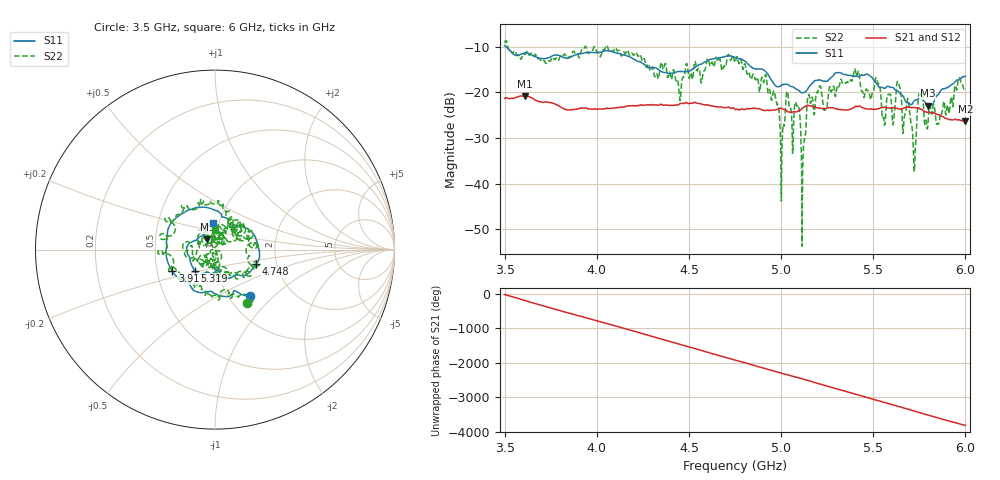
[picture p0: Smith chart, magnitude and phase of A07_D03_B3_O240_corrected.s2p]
! Created with skrf 1.9.0 (http://scikit-rf.org).
# Hz S RI R 50.0
!freq ReS11 ImS11 ReS21 ImS21 ReS12 ImS12 ReS22 ImS22
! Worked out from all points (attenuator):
!   1601 points, 3.5 GHz to 6 GHz, reference 50 ohm
!   highest |S21| = -20.78 dB at 3.611 GHz (marker M1); lowest = -26.4 dB at 6 GHz (marker M2)
!   lowest |S11| = -22.9 dB at 5.795 GHz (marker M3), VSWR 1.15, Z = 45.6 + j5.27 ohm
!   |S11| at or under -10 dB: 3.507 GHz to end of sweep
!   |S22| runs from -53.7 to -8.6 dB; largest |S21 - S12| = 0.001
!   S11 on the Smith chart (normalised r, x): 3.5 GHz: 1.25, -0.72; 3.917 GHz: 0.60, -0.15; 4.748 GHz: 1.56, -0.27; 5.319 GHz: 0.78, -0.19; 6 GHz: 0.94, +0.29
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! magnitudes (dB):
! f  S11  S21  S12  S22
! 3.5 GHz  -9.8  -21.3  -21.3  -9.1
! 3.611 GHz  -11.3  -20.8  -20.8  -11.7
! 3.917 GHz  -11.5  -23.4  -23.4  -10.8
! 4.334 GHz  -15.1  -22.8  -22.8  -17.0
! 4.748 GHz  -12.3  -23.7  -23.6  -13.4
! 4.75 GHz  -12.4  -23.8  -23.7  -13.4
! 4.967 GHz  -18.4  -23.8  -23.8  -20.6
! 5.006 GHz  -18.4  -23.6  -23.5  -30.2
! 5.034 GHz  -18.3  -24.2  -24.1  -19.8
! 5.088 GHz  -19.4  -24.2  -24.2  -22.9
! 5.12 GHz  -20.1  -23.4  -23.3  -33.1
! 5.145 GHz  -19.2  -22.8  -22.8  -20.9
! 5.167 GHz  -18.1  -23.0  -23.0  -21.1
! 5.319 GHz  -15.7  -23.8  -23.7  -18.0
! 5.522 GHz  -18.3  -23.6  -23.6  -17.5
! 5.558 GHz  -19.1  -23.3  -23.3  -25.9
! 5.584 GHz  -18.7  -23.4  -23.4  -20.4
! 5.639 GHz  -19.9  -23.6  -23.6  -18.2
! 5.722 GHz  -21.8  -23.3  -23.3  -37.1
! 5.755 GHz  -21.3  -23.7  -23.6  -20.8
! 5.795 GHz  -22.9  -24.4  -24.3  -27.7
! 6 GHz  -16.5  -26.4  -26.3  -19.3
